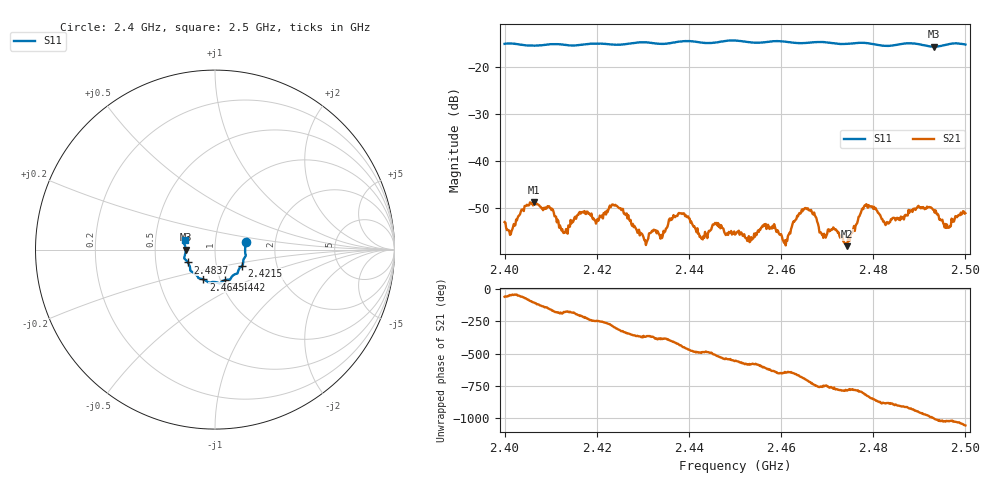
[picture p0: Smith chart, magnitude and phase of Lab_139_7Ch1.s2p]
# Hz S RI R 50
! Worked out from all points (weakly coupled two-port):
!   601 points, 2.4 GHz to 2.5 GHz, reference 50 ohm
!   highest |S21| = -48.87 dB at 2.4063 GHz (marker M1); lowest = -58.2 dB at 2.4743 GHz (marker M2)
!   lowest |S11| = -15.7 dB at 2.4932 GHz (marker M3), VSWR 1.39, Z = 35.9 - j0.0499 ohm
!   |S11| at or under -10 dB: start of sweep to end of sweep
!   S12 and S22 are empty: the file has one direction only
!   S11 on the Smith chart (normalised r, x): 2.4 GHz: 1.41, +0.12; 2.4215 GHz: 1.33, -0.25; 2.4442 GHz: 1.05, -0.37; 2.4645 GHz: 0.83, -0.29; 2.4837 GHz: 0.73, -0.11; 2.5 GHz: 0.71, +0.07
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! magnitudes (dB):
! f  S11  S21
! 2.4 GHz  -15.1  -53.1
! 2.4063 GHz  -15.5  -48.9
! 2.4132 GHz  -15.3  -55.3
! 2.4167 GHz  -15.3  -51.0
! 2.4215 GHz  -15.1  -51.2
! 2.4238 GHz  -15.3  -49.6
! 2.4305 GHz  -14.8  -56.9
! 2.4333 GHz  -15.1  -55.3
! 2.4383 GHz  -14.6  -51.2
! 2.4442 GHz  -15.0  -55.4
! 2.45 GHz  -14.4  -55.8
! 2.4608 GHz  -14.7  -57.0
! 2.4645 GHz  -15.0  -50.4
! 2.4667 GHz  -14.8  -50.9
! 2.4688 GHz  -14.7  -55.7
! 2.4743 GHz  -15.1  -58.2
! 2.4782 GHz  -14.9  -49.5
! 2.4833 GHz  -15.6  -53.4
! 2.4837 GHz  -15.5  -53.1
! 2.4932 GHz  -15.7  -50.5
! 2.496 GHz  -15.2  -53.6
! 2.5 GHz  -15.3  -51.2
